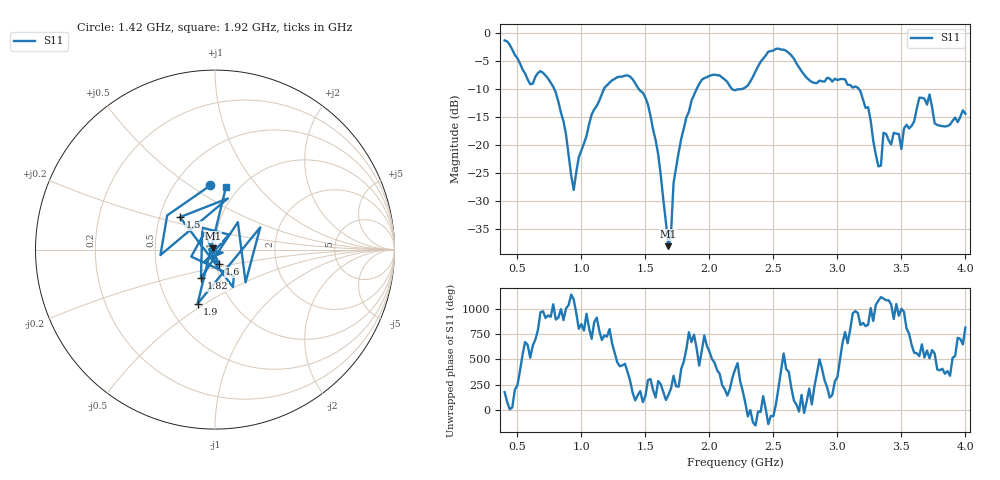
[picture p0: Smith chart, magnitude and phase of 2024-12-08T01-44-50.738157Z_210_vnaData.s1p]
!Created with skrf (http://scikit-rf.org).
# Hz S RI R 50.0
!freq ReS11 ImS11
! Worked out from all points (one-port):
!   181 points, 400 MHz to 4 GHz, reference 50 ohm
!   lowest |S11| = -38.1 dB at 1.68 GHz (marker M1), VSWR 1.03, Z = 48.9 + j0.633 ohm
!   |S11| at or under -10 dB: 788.3 MHz to 1.175 GHz (387.1 MHz wide, 39.4 % of centre); 1.45 GHz to 1.9 GHz (449.8 MHz wide, 26.9 % of centre); 3.168 GHz to end of sweep (the widest 3 of 4)
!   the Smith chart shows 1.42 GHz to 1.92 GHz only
!   S11 on the Smith chart (normalised r, x): 1.42 GHz: 0.74, +0.61; 1.5 GHz: 0.64, +0.25; 1.6 GHz: 1.03, -0.17; 1.82 GHz: 0.82, -0.27; 1.9 GHz: 0.70, -0.47; 1.92 GHz: 0.87, +0.69
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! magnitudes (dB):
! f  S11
! 400 MHz  -1.3
! 600 MHz  -9.1
! 740 MHz  -8.1
! 860 MHz  -15.7
! 940 MHz  -28.0
! 1.08 GHz  -14.5
! 1.3 GHz  -7.8
! 1.42 GHz  -8.9
! 1.5 GHz  -11.5
! 1.6 GHz  -21.7
! 1.68 GHz  -38.1
! 1.72 GHz  -26.8
! 1.76 GHz  -21.3
! 1.82 GHz  -15.0
! 1.9 GHz  -10.0
! 1.92 GHz  -9.1
! 2.2 GHz  -10.2
! 2.46 GHz  -3.3
! 2.66 GHz  -4.5
! 3.1 GHz  -9.2
! 3.24 GHz  -13.2
! 3.32 GHz  -23.8
! 3.36 GHz  -17.8
! 3.5 GHz  -20.7
! 3.56 GHz  -17.0
! 3.72 GHz  -10.9
! 3.78 GHz  -16.4
! 4 GHz  -14.4
